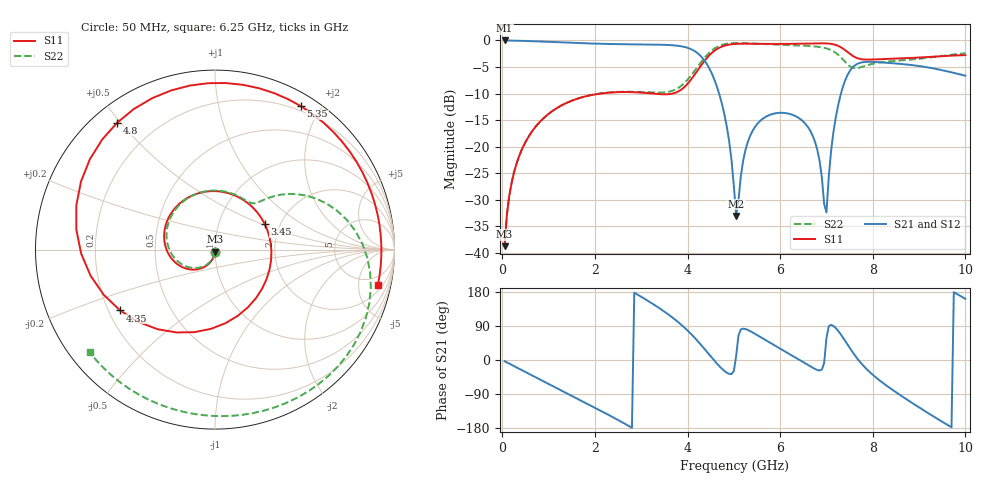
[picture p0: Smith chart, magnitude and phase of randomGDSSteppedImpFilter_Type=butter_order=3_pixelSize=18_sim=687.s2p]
! freq	dB(S11)	phase(S11)	dB(S12)	phase(S12)
!  dB(S21)	phase(S21)	dB(S22)	phase(S22)
!S-par simulation data
#  GHz  S  DB  R 50
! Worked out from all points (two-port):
!   200 points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, 50 MHz to 10 GHz, reference 50 ohm
!   highest |S21| = -0.01 dB at 50 MHz (marker M1); lowest = -33.0 dB at 5.05 GHz (marker M2)
!   |S21| within 3 dB of the highest: start of sweep to 4.292 GHz
!   lowest |S11| = -38.7 dB at 50 MHz (marker M3), VSWR 1.02, Z = 49.9 - j1.16 ohm
!   |S11| at or under -10 dB: start of sweep to 2.114 GHz; 3.251 GHz to 3.672 GHz (421 MHz wide, 12.2 % of centre)
!   |S22| runs from -38.7 to -0.5 dB; largest |S21 - S12| = 0
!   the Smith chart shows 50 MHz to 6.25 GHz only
!   S11 on the Smith chart (normalised r, x): 50 MHz: 1.00, -0.02; 3.45 GHz: 1.66, +0.53; 4.35 GHz: 0.25, -0.28; 4.8 GHz: 0.07, +0.49; 5.35 GHz: 0.15, +1.76; 6.25 GHz: 2.88, -8.30
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0.05  -38.70 -92.7  -0.01 -3.2  -0.01 -3.2  -38.70 -93.0
0.2  -26.82 -102.2  -0.03 -12.8  -0.03 -12.8  -26.83 -103.4
0.5  -19.13 -120.7  -0.10 -31.7  -0.10 -31.7  -19.13 -123.7
1.75  -10.63 164.4  -0.53 -110.0  -0.53 -110.0  -10.62 154.1
2.65  -9.70 105.2  -0.72 -168.5  -0.72 -168.5  -9.65 96.8
3.4  -10.11 34.1  -0.80 136.1  -0.80 136.1  -9.81 57.7
3.45  -10.13 27.5  -0.81 131.9  -0.81 131.9  -9.80 56.0
3.95  -8.63 -60.4  -1.26 83.7  -1.26 83.7  -7.86 44.6
4.35  -4.04 -147.3  -3.60 31.4  -3.60 31.4  -3.45 22.5
4.8  -0.98 127.6  -14.08 -29.3  -14.08 -29.3  -0.70 -24.3
5.05  -0.65 92.4  -33.01 10.6  -33.01 10.6  -0.48 -48.1
5.35  -0.62 59.0  -17.99 76.4  -17.99 76.4  -0.56 -72.8
6.25  -0.64 -12.3  -13.94 12.3  -13.94 12.3  -0.89 -140.7
6.7  -0.56 -41.2  -17.87 -20.2  -17.87 -20.2  -1.09 176.4
7  -0.56 -60.9  -32.35 57.8  -32.35 57.8  -1.51 133.8
7.25  -1.01 -78.9  -12.28 77.2  -12.28 77.2  -2.67 76.2
7.45  -2.15 -91.1  -6.60 41.7  -6.60 41.7  -4.45 6.7
7.75  -3.52 -97.8  -4.15 -8.8  -4.15 -8.8  -5.02 -98.8
8.05  -3.57 -104.6  -4.05 -44.2  -4.05 -44.2  -4.30 -162.9
8.35  -3.46 -114.4  -4.24 -72.2  -4.24 -72.2  -3.94 152.1
9  -3.22 -138.7  -4.82 -125.1  -4.82 -125.1  -3.45 72.0
10  -2.76 172.1  -6.64 161.5  -6.64 161.5  -2.41 -23.0
